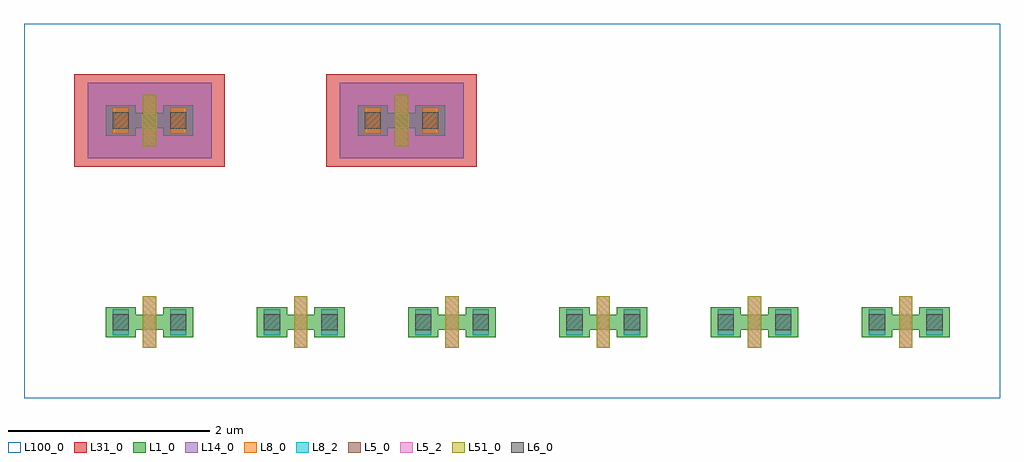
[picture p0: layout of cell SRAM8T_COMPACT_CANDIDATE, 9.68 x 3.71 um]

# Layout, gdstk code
import gdstk
lib = gdstk.Library(unit=1e-6, precision=1e-09)
def R(c, l, rs):  # rectangles x0, y0, x1, y1
    for r in rs: c.add(gdstk.rectangle(r[:2], r[2:], *l))
L1_0 = (1, 0)
L5_0 = (5, 0)
L5_2 = (5, 2)
L6_0 = (6, 0)
L8_0 = (8, 0)
L8_2 = (8, 2)
L14_0 = (14, 0)
L31_0 = (31, 0)
L51_0 = (51, 0)
L100_0 = (100, 0)

pmos = lib.new_cell('pmos')
R(pmos, L1_0, [(0,0,0.3,0.3), (0.57,0,0.87,0.3), (0,0.075,0.87,0.225)])
R(pmos, L5_0, [(0.37,-0.105,0.5,0.405), (0.37,-0.105,0.5,0.405), (0.37,-0.105,0.5,0.405)])
R(pmos, L6_0, [(0.07,0.07,0.23,0.23), (0.64,0.07,0.8,0.23)])
R(pmos, L8_0, [(0.07,0.02,0.23,0.28), (0.07,0.02,0.23,0.28), (0.07,0.02,0.23,0.28), (0.64,0.02,0.8,0.28), (0.64,0.02,0.8,0.28), (0.64,0.02,0.8,0.28)])
R(pmos, L14_0, [(-0.18,-0.225,1.05,0.525)])
R(pmos, L31_0, [(-0.31,-0.31,1.18,0.61)])
R(pmos, L51_0, [(0.37,-0.105,0.5,0.405)])
pmos.add(gdstk.Label('pmos', (0.435,0.15), layer=63, texttype=0))
pmos.add(gdstk.Label('pmos', (0.435,0.15), layer=51, texttype=0))

nmos = lib.new_cell('nmos')
R(nmos, L1_0, [(0,0,0.3,0.3), (0.57,0,0.87,0.3), (0,0.075,0.87,0.225)])
R(nmos, L5_0, [(0.37,-0.105,0.5,0.405)])
R(nmos, L5_2, [(0.37,-0.105,0.5,0.405), (0.37,-0.105,0.5,0.405)])
R(nmos, L6_0, [(0.07,0.07,0.23,0.23), (0.64,0.07,0.8,0.23)])
R(nmos, L8_0, [(0.07,0.02,0.23,0.28), (0.64,0.02,0.8,0.28)])
R(nmos, L8_2, [(0.07,0.02,0.23,0.28), (0.07,0.02,0.23,0.28), (0.64,0.02,0.8,0.28), (0.64,0.02,0.8,0.28)])
R(nmos, L51_0, [(0.37,-0.105,0.5,0.405)])
nmos.add(gdstk.Label('nmos', (0.435,0.15), layer=63, texttype=0))
nmos.add(gdstk.Label('nmos', (0.435,0.15), layer=51, texttype=0))

sram8t_compact_candidate = lib.new_cell('SRAM8T_COMPACT_CANDIDATE')
R(sram8t_compact_candidate, L100_0, [(-0.81,-0.605,8.87,3.11)])
sram8t_compact_candidate.add(gdstk.Reference(pmos, (0,2)))
sram8t_compact_candidate.add(gdstk.Reference(pmos, (2.5,2)))
sram8t_compact_candidate.add(gdstk.Reference(nmos, (0,0)))
sram8t_compact_candidate.add(gdstk.Reference(nmos, (1.5,0)))
sram8t_compact_candidate.add(gdstk.Reference(nmos, (3,0)))
sram8t_compact_candidate.add(gdstk.Reference(nmos, (4.5,0)))
sram8t_compact_candidate.add(gdstk.Reference(nmos, (6,0)))
sram8t_compact_candidate.add(gdstk.Reference(nmos, (7.5,0)))

lib.write_gds('SRAM8T_COMPACT_CANDIDATE.gds')
